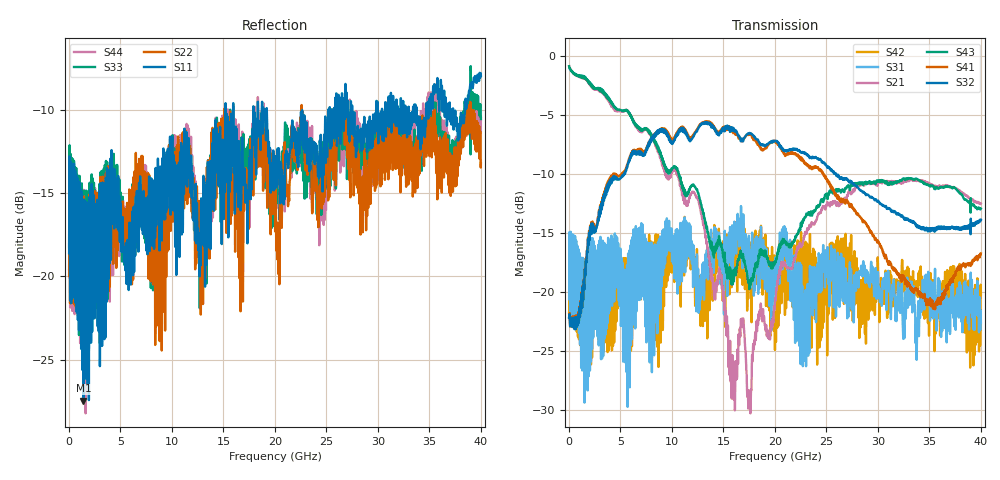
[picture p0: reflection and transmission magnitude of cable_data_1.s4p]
!Correction: S11(Full 4 Port(1,2,3,4))
!S12(Full 4 Port(1,2,3,4))
!S13(Full 4 Port(1,2,3,4))
!S14(Full 4 Port(1,2,3,4))
!S21(Full 4 Port(1,2,3,4))
!S22(Full 4 Port(1,2,3,4))
!S23(Full 4 Port(1,2,3,4))
!S24(Full 4 Port(1,2,3,4))
!S31(Full 4 Port(1,2,3,4))
!S32(Full 4 Port(1,2,3,4))
!S33(Full 4 Port(1,2,3,4))
!S34(Full 4 Port(1,2,3,4))
!S41(Full 4 Port(1,2,3,4))
!S42(Full 4 Port(1,2,3,4))
!S43(Full 4 Port(1,2,3,4))
!S44(Full 4 Port(1,2,3,4))
!S4P File: Measurements: <S11,S12,S13,S14>,
!<S21,S22,S23,S24>,
!<S31,S32,S33,S34>,
!<S41,S42,S43,S44>:
# Hz S  dB  R 50
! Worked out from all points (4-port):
!   4000 points, 10 MHz to 40 GHz, reference 50 ohm
!   strongest paths, dB at 10 MHz, 10.01 GHz, 20.01 GHz, 30.01 GHz, 40 GHz:
!     S32: -22.1, -7.4, -7.2, -12.2, -13.8
!     S41: -22.1, -7.1, -7.2, -15.6, -16.7
!     S43: -0.8, -9.6, -17.5, -10.6, -12.9
!     S21: -0.8, -9.8, -20.5, -10.8, -12.5
!     S31: -20.6, -17.3, -18.1, -18.3, -22.6
!     S42: -21.7, -18.0, -23.0, -17.9, -20.2
!   lowest |S11| = -27.5 dB at 1.4 GHz (marker M1), VSWR 1.09, Z = 46.7 - j2.48 ohm
!   |S11| at or under -10 dB: start of sweep to 15.19 GHz; 19.21 GHz to 25.21 GHz (5.995 GHz wide, 27 % of centre); 27.51 GHz to 29.83 GHz (2.32 GHz wide, 8.09 % of centre)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
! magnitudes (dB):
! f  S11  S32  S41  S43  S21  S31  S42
! 10 MHz  -18.6  -22.1  -22.1  -0.8  -0.8  -20.6  -21.7
! 1.4 GHz  -27.5  -20.0  -19.9  -1.7  -1.7  -25.8  -26.4
! 12.38 GHz  -17.5  -6.4  -6.2  -11.3  -12.0  -20.1  -17.7
! 17.49 GHz  -13.0  -6.5  -6.6  -19.5  -28.5  -16.4  -16.6
! 24.67 GHz  -13.2  -9.0  -10.0  -12.3  -12.7  -16.3  -18.9
! 35.39 GHz  -8.7  -14.7  -21.1  -11.0  -11.0  -22.0  -21.5
! 40 GHz  -7.9  -13.8  -16.7  -12.9  -12.5  -22.6  -20.2
